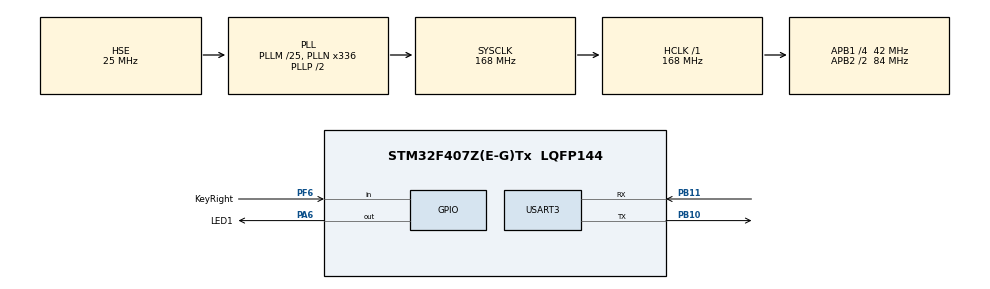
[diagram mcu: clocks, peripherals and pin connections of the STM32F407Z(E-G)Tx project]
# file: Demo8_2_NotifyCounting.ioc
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FREERTOS.Tasks01=Task_CheckIn,24,128,AppTask_CheckIn,Default,NULL,Dynamic,NULL,NULL
FREERTOS.configUSE_NEWLIB_REENTRANT=1
Mcu.Family=STM32F4
Mcu.Name=STM32F407Z(E-G)Tx
Mcu.Package=LQFP144
NVIC.PriorityGroup=NVIC_PRIORITYGROUP_4
NVIC.RTC_WKUP_IRQn=true\:5\:0\:false\:false\:true\:true\:true\:true\:true
NVIC.TIM6_DAC_IRQn=true\:0\:0\:true\:false\:true\:false\:false\:true\:true
NVIC.TimeBase=TIM6_DAC_IRQn
NVIC.TimeBaseIP=TIM6
PA13.Mode=Serial_Wire
PA13.Signal=SYS_JTMS-SWDIO
PA14.Mode=Serial_Wire
PA14.Signal=SYS_JTCK-SWCLK
PA6.GPIO_Label=LED1
PA6.GPIO_Speed=GPIO_SPEED_FREQ_HIGH
PA6.PinState=GPIO_PIN_SET
PA6.Signal=GPIO_Output
PB10.Mode=Asynchronous
PB10.Signal=USART3_TX
PB11.Mode=Asynchronous
PB11.Signal=USART3_RX
PF6.GPIO_Label=KeyRight
PF6.GPIO_PuPd=GPIO_PULLUP
PF6.Signal=GPIO_Input
PH0-OSC_IN.Mode=HSE-External-Oscillator
PH0-OSC_IN.Signal=RCC_OSC_IN
PH1-OSC_OUT.Mode=HSE-External-Oscillator
PH1-OSC_OUT.Signal=RCC_OSC_OUT
ProjectManager.HeapSize=0x200
ProjectManager.StackSize=0x400
ProjectManager.TargetToolchain=STM32CubeIDE
RCC.48MHZClocksFreq_Value=84000000
RCC.AHBFreq_Value=168000000
RCC.APB1CLKDivider=RCC_HCLK_DIV4
RCC.APB1Freq_Value=42000000
RCC.APB1TimFreq_Value=84000000
RCC.APB2CLKDivider=RCC_HCLK_DIV2
RCC.APB2Freq_Value=84000000
RCC.APB2TimFreq_Value=168000000
RCC.CortexFreq_Value=168000000
RCC.HCLKFreq_Value=168000000
RCC.HSE_VALUE=25000000
RCC.HSI_VALUE=16000000
RCC.LSE_VALUE=32768
RCC.PLLM=25
RCC.PLLN=336
RCC.PLLSourceVirtual=RCC_PLLSOURCE_HSE
RCC.SYSCLKFreq_VALUE=168000000
RCC.SYSCLKSource=RCC_SYSCLKSOURCE_PLLCLK
RCC.VCOOutputFreq_Value=336000000
RTC.Date=19
RTC.Format=RTC_FORMAT_BIN
RTC.Hours=15
RTC.Month=RTC_MONTH_MAY
RTC.WakeUpClock=RTC_WAKEUPCLOCK_CK_SPRE_16BITS
RTC.WakeUpCounter=1
RTC.Year=25
USART3.VirtualMode=VM_ASYNC
VP_FREERTOS_VS_CMSIS_V2.Mode=CMSIS_V2
VP_RTC_VS_RTC_Activate.Mode=RTC_Enabled
VP_RTC_VS_RTC_Calendar.Mode=RTC_Calendar
VP_RTC_VS_RTC_WakeUp_intern.Mode=WakeUp
VP_SYS_VS_tim6.Mode=TIM6
board=custom

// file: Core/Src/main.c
/* USER CODE BEGIN Header */
/**
  ******************************************************************************
  * @file           : main.c
  * @brief          : Main program body
  ******************************************************************************
  * @attention
  *
  * Copyright (c) 2025 STMicroelectronics.
  * All rights reserved.
  *
  * This software is licensed under terms that can be found in the LICENSE file
  * in the root directory of this software component.
  * If no LICENSE file comes with this software, it is provided AS-IS.
  *
  ******************************************************************************
  */
/* USER CODE END Header */
#include "main.h"
#include "cmsis_os.h"
#include "rtc.h"
#include "usart.h"
#include "gpio.h"

void SystemClock_Config(void);
void MX_FREERTOS_Init(void);

int main(void)
{

  /* MCU Configuration--------------------------------------------------------*/

  /* Reset of all peripherals, Initializes the Flash interface and the Systick. */
  HAL_Init();

  /* Configure the system clock */
  SystemClock_Config();

  /* Initialize all configured peripherals */
  MX_GPIO_Init();
  MX_USART3_UART_Init();
  MX_RTC_Init();
  /* USER CODE BEGIN 2 */
  // Start Menu
  uint8_t startstr[] = "Demo8_2:Task Notification.\r\n";
  HAL_UART_Transmit(&huart3,startstr,sizeof(startstr),0xFFFF);

  uint8_t startstr1[] = "Simulating people in wait.\r\n";
  HAL_UART_Transmit(&huart3,startstr1,sizeof(startstr1),0xFFFF);

  uint8_t startstr2[] = "1. People++ each 2sec.\r\n";
  HAL_UART_Transmit(&huart3,startstr2,sizeof(startstr2),0xFFFF);
  uint8_t startstr3[] = "2. Press KeyRight[S5] to People--.\r\n\r\n";
  HAL_UART_Transmit(&huart3,startstr3,sizeof(startstr3),0xFFFF);
  /* USER CODE END 2 */

  /* Init scheduler */
  osKernelInitialize();

  /* Call init function for freertos objects (in cmsis_os2.c) */
  MX_FREERTOS_Init();

  /* Start scheduler */
  osKernelStart();

  /* We should never get here as control is now taken by the scheduler */

  /* Infinite loop */
  while (1)
  {

  }
}

void SystemClock_Config(void)
{
  RCC_OscInitTypeDef RCC_OscInitStruct = {0};
  RCC_ClkInitTypeDef RCC_ClkInitStruct = {0};

  /** Configure the main internal regulator output voltage
  */
  __HAL_RCC_PWR_CLK_ENABLE();
  __HAL_PWR_VOLTAGESCALING_CONFIG(PWR_REGULATOR_VOLTAGE_SCALE1);

  /** Initializes the RCC Oscillators according to the specified parameters
  * in the RCC_OscInitTypeDef structure.
  */
  RCC_OscInitStruct.OscillatorType = RCC_OSCILLATORTYPE_LSI|RCC_OSCILLATORTYPE_HSE;
  RCC_OscInitStruct.HSEState = RCC_HSE_ON;
  RCC_OscInitStruct.LSIState = RCC_LSI_ON;
  RCC_OscInitStruct.PLL.PLLState = RCC_PLL_ON;
  RCC_OscInitStruct.PLL.PLLSource = RCC_PLLSOURCE_HSE;
  RCC_OscInitStruct.PLL.PLLM = 25;
  RCC_OscInitStruct.PLL.PLLN = 336;
  RCC_OscInitStruct.PLL.PLLP = RCC_PLLP_DIV2;
  RCC_OscInitStruct.PLL.PLLQ = 4;
  if (HAL_RCC_OscConfig(&RCC_OscInitStruct) != HAL_OK)
  {
    Error_Handler();
  }

  /** Initializes the CPU, AHB and APB buses clocks
  */
  RCC_ClkInitStruct.ClockType = RCC_CLOCKTYPE_HCLK|RCC_CLOCKTYPE_SYSCLK
                              |RCC_CLOCKTYPE_PCLK1|RCC_CLOCKTYPE_PCLK2;
  RCC_ClkInitStruct.SYSCLKSource = RCC_SYSCLKSOURCE_PLLCLK;
  RCC_ClkInitStruct.AHBCLKDivider = RCC_SYSCLK_DIV1;
  RCC_ClkInitStruct.APB1CLKDivider = RCC_HCLK_DIV4;
  RCC_ClkInitStruct.APB2CLKDivider = RCC_HCLK_DIV2;

  if (HAL_RCC_ClockConfig(&RCC_ClkInitStruct, FLASH_LATENCY_5) != HAL_OK)
  {
    Error_Handler();
  }
}

void HAL_TIM_PeriodElapsedCallback(TIM_HandleTypeDef *htim)
{
  if (htim->Instance == TIM6)
  {
    HAL_IncTick();
  }
}

void Error_Handler(void)
{
  __disable_irq();
  while (1)
  {
  }
}

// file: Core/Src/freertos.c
/* USER CODE BEGIN Header */
/**
  ******************************************************************************
  * File Name          : freertos.c
  * Description        : Code for freertos applications
  ******************************************************************************
  * @attention
  *
  * Copyright (c) 2025 STMicroelectronics.
  * All rights reserved.
  *
  * This software is licensed under terms that can be found in the LICENSE file
  * in the root directory of this software component.
  * If no LICENSE file comes with this software, it is provided AS-IS.
  *
  ******************************************************************************
  */
/* USER CODE END Header */

#include "FreeRTOS.h"
#include "task.h"
#include "main.h"
#include "cmsis_os.h"

/* USER CODE BEGIN Includes */
#include <stdio.h>
#include "usart.h"
#include "keyled.h"
#include "rtc.h"
/* USER CODE END Includes */

/* Definitions for Task_CheckIn */
osThreadId_t Task_CheckInHandle;
const osThreadAttr_t Task_CheckIn_attributes = {
  .name = "Task_CheckIn",
  .stack_size = 128 * 4,
  .priority = (osPriority_t) osPriorityNormal,
};

void AppTask_CheckIn(void *argument);

void MX_FREERTOS_Init(void); /* (MISRA C 2004 rule 8.1) */

void MX_FREERTOS_Init(void) {

  /* Create the thread(s) */
  /* creation of Task_CheckIn */
  Task_CheckInHandle = osThreadNew(AppTask_CheckIn, NULL, &Task_CheckIn_attributes);

}

void AppTask_CheckIn(void *argument)
{
	/* USER CODE BEGIN AppTask_CheckIn */
	/* Infinite loop */
	for(;;)
	{
		KEYS curKey=ScanPressedKey(20);
		if (curKey==KEY_RIGHT)  //KeyRight pressed
		{
			BaseType_t clearOnExit=pdFALSE;						//退出时通知值减1
			// 只是在通知值为0时才进入阻塞状态，所以可以多次读取通知值，每次使通知值减1
			BaseType_t preCount=ulTaskNotifyTake(clearOnExit, portMAX_DELAY);
			// BaseType_t preCount=ulTaskNotifyTake(clearOnExit, pdMS_TO_TICKS(500));

			printf("People in waiting= %ld\r\n",preCount-1);		// preCount是前一次的通知值
			vTaskDelay(pdMS_TO_TICKS(300));  					//延时，消除按键抖动影响
		}
		else
			vTaskDelay(pdMS_TO_TICKS(5));
	}
  /* USER CODE END AppTask_CheckIn */
}

/* USER CODE BEGIN Application */
/* RTC周期唤醒中断回调函数 */
void HAL_RTCEx_WakeUpTimerEventCallback(RTC_HandleTypeDef *hrtc)
{
	LED1_Toggle();								//LED1闪烁
	BaseType_t taskWoken=pdFALSE;
	vTaskNotifyGiveFromISR(Task_CheckInHandle,&taskWoken);  //发送通知，通知值加1
	portYIELD_FROM_ISR(taskWoken); //必须执行这条语句，申请任务调度
}

int __io_putchar(int ch)
{
	HAL_UART_Transmit(&huart3,(uint8_t*)&ch,1,0xFFFF);
	return ch;
}
/* USER CODE END Application */
